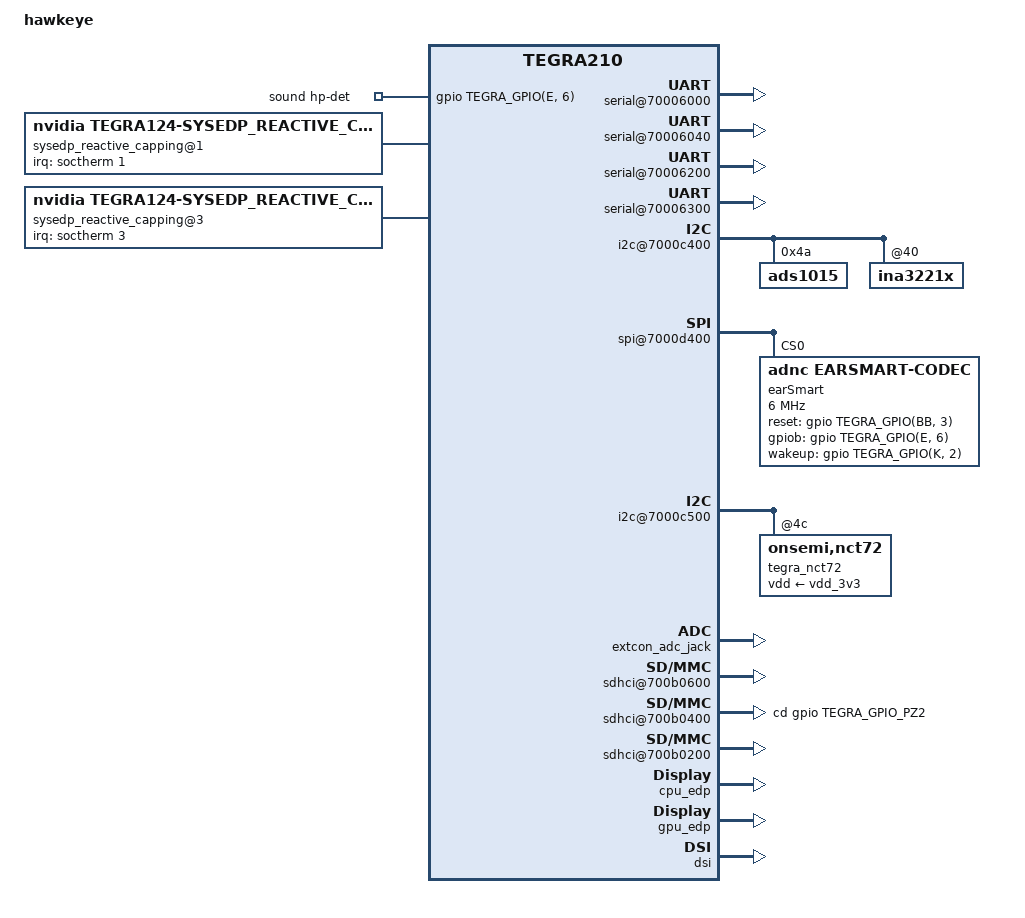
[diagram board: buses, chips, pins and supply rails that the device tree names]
/*
 * tegra210-hawkeye-p2290-common.dtsi: Hawkeye common dtsi.
 *
 * Copyright (c) 2014-2015, NVIDIA CORPORATION.  All rights reserved.
 *
 * This program is free software; you can redistribute it and/or modify
 * it under the terms of the GNU General Public License as published by
 * the Free Software Foundation; version 2 of the License.
 *
 * This program is distributed in the hope that it will be useful, but WITHOUT
 * ANY WARRANTY; without even the implied warranty of MERCHANTABILITY or
 * FITNESS FOR A PARTICULAR PURPOSE.  See the GNU General Public License for
 * more details.
 */

#include <dt-bindings/types.h>
/dts-v1/;

/memreserve/ 0x80000000 0x00020000;

#include "tegra210-soc-shield.dtsi"
#include <dt-bindings/interrupt-controller/arm-gic.h>
#include <dt-bindings/gpio/tegra-gpio.h>
#include <dt-bindings/padctrl/tegra210-pads.h>

#include "tegra210-platforms/tegra210-prods.dtsi"
#include "tegra210-platforms/tegra210-hawkeye-pinmux-p2290-1100-a00.dtsi"
#include "tegra210-platforms/tegra210-hawkeye-power-tree-p2290-1100-a00.dtsi"
#include "tegra210-platforms/tegra210-ers-keys-e2220-1170-a00.dtsi"
#include "panel-s-wuxga-7-0.dtsi"
#include "panel-s-wuxga-8-0.dtsi"
#include "panel-a-wuxga-8-0.dtsi"
#include "tegra210-platforms/tegra210-hawkeye-emc-p2290-1100-a00.dtsi"
#include "tegra210-platforms/tegra210-hawkeye-touch.dtsi"
#include "tegra210-platforms/tegra210-hawkeye-sensor-p2290-1100-a00.dtsi"
#include "tegra210-platforms/tegra210-hawkeye-camera-p2290-1100-a00.dtsi"
#include "tegra210-platforms/tegra210-hawkeye-modem-p2290-1100-a00.dtsi"
#include "tegra210-platforms/tegra210-sdhci.dtsi"
#include "tegra210-platforms/tegra210-edp.dtsi"
#include "tegra210-platforms/tegra210-audio.dtsi"
#include "tegra210-platforms/tegra210-ers-thermal-nct72-e2220-1170-a00.dtsi"
#include "tegra210-platforms/tegra210-thermal-Tboard-Tdiode.dtsi"
#include "tegra210-platforms/tegra210-therm-est.dtsi"
#include "tegra210-platforms/tegra210-ers-hdmi-e2190-1100-a00.dtsi"
#include "tegra210-platforms/tegra210-hawkeye-keys-p2290-1100-a00.dtsi"
#include "tegra210-platforms/tegra210-hawkeye-powermon.dtsi"
#include "tegra210-platforms/tegra210-sysedp.dtsi"
#include "tegra210-platforms/tegra210-hawkeye-e-prods.dtsi"
#include "tegra210-platforms/tegra210-hawkeye-thermal-zone-p2290-1100-a00.dtsi"

/* TODO: comm's dtsi should be included after GPIO dtsi */
#include "tegra210-platforms/tegra210-hawkeye-comms.dtsi"

/ {
	model = "hawkeye";
	compatible = "nvidia,hawkeye", "nvidia,tegra210";
	nvidia,fastboot-usb-pid = <0xcf0e>;

	nvidia,pmu-boardid = "2290:0000:A0";
	#address-cells = <2>;
	#size-cells = <2>;

	chosen {
	};

	firmware {
		android {
			compatible = "android,firmware";
			hardware = "hawkeye";
		};
	};

	gpio@6000d000 {
		camera_control {
			gpio-output-low = <
				TEGRA_GPIO(S, 4)
				TEGRA_GPIO(S, 5)
				TEGRA_GPIO(S, 6)
				TEGRA_GPIO(S, 7)
				TEGRA_GPIO(T, 0)
				>;
		};

		audio_over_jack {
			gpio-output-high = <TEGRA_GPIO(DD, 0)>;
		};

		uart_over_jack {
			status = "disabled";
			gpio-output-low = <TEGRA_GPIO(DD, 0)>;
			dt-override-status-odm-data = <0x80000000 0x80000000>;
		};
	};

	serial@70006000 {
		compatible = "nvidia,tegra210-uart", "nvidia,tegra114-hsuart";
		console-port;
		sqa-automation-port;
		status = "okay";
	};

	serial@70006040 {
		compatible = "nvidia,tegra114-hsuart";
		status = "okay";
	};

	serial@70006200 {
		compatible = "nvidia,tegra114-hsuart";
		status = "okay";
	};

	serial@70006300 {
		compatible = "nvidia,tegra114-hsuart";
		dma-names = "tx";
		status = "okay";
	};

	gpio-keys {
		home {
			status = "disabled";
		};
	};

	i2c@546c0000 {
		avdd_dsi_csi-supply = <&mipi_1v2>;
	};

	i2c@7000c400 {
		status = "okay";
		lp8557-backlight-a-wuxga-8-0@2c {
			status = "disabled";
			compatible = "ti,lp8557";
			reg = <0x2c>;

			bl-name = "pwm-backlight"; /* Match liblights naming expectations */
			init-brt = /bits/ 8 <0xFF>; /* Max brightness */
			dev-ctrl = /bits/ 8 <0x80>; /* PWM, enable standby mode */
			pwm-period = <29334>;

			pwm-names = "lp8557";
			pwms = <&tegra_pwm 0 29334>;

			bl-measured = < 0 1 2 4 5 6 7 8
					10 11 12 13 14 15 16 18
					19 20 21 22 23 24 25 26
					27 29 30 31 32 33 34 35
					36 38 39 40 41 42 44 45
					46 47 48 49 50 52 53 54
					55 56 57 58 59 61 62 63
					64 65 67 68 69 70 71 72
					73 75 76 77 78 79 80 81
					82 83 84 85 86 87 88 89
					90 91 92 93 94 96 97 98
					99 100 101 102 103 104 105 106
					107 108 109 110 111 112 112 113
					114 115 115 116 117 117 118 119
					120 122 123 124 125 126 128 129
					130 131 132 133 134 135 135 136
					137 138 139 140 141 142 143 145
					146 147 148 149 150 151 152 153
					154 155 156 157 158 159 160 161
					161 162 163 164 164 165 166 166
					167 168 169 170 171 173 174 175
					176 177 178 179 180 181 182 183
					183 184 185 186 187 188 189 189
					190 191 192 193 193 194 195 196
					197 198 199 200 200 201 202 203
					204 205 206 207 208 209 210 211
					212 213 214 216 217 218 219 220
					221 222 223 224 225 226 227 228
					229 230 231 232 233 234 235 235
					236 237 238 239 240 241 242 243
					244 245 247 248 249 250 251 251
					252 252 253 253 254 254 255 255 >;

			/* 3 LED string */
			rom_14h {
				rom-addr = /bits/ 8 <0x14>;
				rom-val = /bits/ 8 <0x87>;
			};

			/*Boost freq 1MHZ*/
			rom_13h {
				rom-addr = /bits/ 8 <0x13>;
				rom-val = /bits/ 8 <0x01>;
			};
		};

		lp8557-backlight-s-wuxga-7-0@2c {
			status = "disabled";
			compatible = "ti,lp8557";
			reg = <0x2c>;

			bl-name = "pwm-backlight"; /* Match liblights naming expectations */
			init-brt = /bits/ 8 <0xFF>; /* Max brightness */
			dev-ctrl = /bits/ 8 <0x80>; /* PWM, enable standby mode */
			pwm-period = <29334>;

			pwm-names = "lp8557";
			pwms = <&tegra_pwm 0 29334>;

			bl-measured = < 0 1 2 4 5 6 7 8
					10 11 12 13 14 15 16 18
					19 20 21 22 23 24 25 26
					27 29 30 31 32 33 34 35
					36 38 39 40 41 42 44 45
					46 47 48 49 50 52 53 54
					55 56 57 58 59 61 62 63
					64 65 67 68 69 70 71 72
					73 75 76 77 78 79 80 81
					82 83 84 85 86 87 88 89
					90 91 92 93 94 96 97 98
					99 100 101 102 103 104 105 106
					107 108 109 110 111 112 112 113
					114 115 115 116 117 117 118 119
					120 122 123 124 125 126 128 129
					130 131 132 133 134 135 135 136
					137 138 139 140 141 142 143 145
					146 147 148 149 150 151 152 153
					154 155 156 157 158 159 160 161
					161 162 163 164 164 165 166 166
					167 168 169 170 171 173 174 175
					176 177 178 179 180 181 182 183
					183 184 185 186 187 188 189 189
					190 191 192 193 193 194 195 196
					197 198 199 200 200 201 202 203
					204 205 206 207 208 209 210 211
					212 213 214 216 217 218 219 220
					221 222 223 224 225 226 227 228
					229 230 231 232 233 234 235 235
					236 237 238 239 240 241 242 243
					244 245 247 248 249 250 251 251
					252 252 253 253 254 254 255 255 >;

			/* 5 LED string */
			rom_14h {
				rom-addr = /bits/ 8 <0x14>;
				rom-val = /bits/ 8 <0x9f>;
			};

			/*Boost freq 1MHZ*/
			rom_13h {
				rom-addr = /bits/ 8 <0x13>;
				rom-val = /bits/ 8 <0x01>;
			};
		};

		lp8557-backlight-s-wuxga-8-0@2c {
			status = "disabled";
			compatible = "ti,lp8557";
			reg = <0x2c>;

			bl-name = "pwm-backlight"; /* Match liblights naming expectations */
			init-brt = /bits/ 8 <0xFF>; /* Max brightness */
			dev-ctrl = /bits/ 8 <0x80>; /* PWM, enable standby mode */
			pwm-period = <29334>;

			pwm-names = "lp8557";
			pwms = <&tegra_pwm 0 29334>;

			bl-measured = < 0 1 2 4 5 6 7 8
					10 11 12 13 14 15 16 18
					19 20 21 22 23 24 25 26
					27 29 30 31 32 33 34 35
					36 38 39 40 41 42 44 45
					46 47 48 49 50 52 53 54
					55 56 57 58 59 61 62 63
					64 65 67 68 69 70 71 72
					73 75 76 77 78 79 80 81
					82 83 84 85 86 87 88 89
					90 91 92 93 94 96 97 98
					99 100 101 102 103 104 105 106
					107 108 109 110 111 112 112 113
					114 115 115 116 117 117 118 119
					120 122 123 124 125 126 128 129
					130 131 132 133 134 135 135 136
					137 138 139 140 141 142 143 145
					146 147 148 149 150 151 152 153
					154 155 156 157 158 159 160 161
					161 162 163 164 164 165 166 166
					167 168 169 170 171 173 174 175
					176 177 178 179 180 181 182 183
					183 184 185 186 187 188 189 189
					190 191 192 193 193 194 195 196
					197 198 199 200 200 201 202 203
					204 205 206 207 208 209 210 211
					212 213 214 216 217 218 219 220
					221 222 223 224 225 226 227 228
					229 230 231 232 233 234 235 235
					236 237 238 239 240 241 242 243
					244 245 247 248 249 250 251 251
					252 252 253 253 254 254 255 255 >;

			/* 5 LED string */
			rom_14h {
				rom-addr = /bits/ 8 <0x14>;
				rom-val = /bits/ 8 <0x9f>;
			};

			/*Boost freq 1MHZ*/
			rom_13h {
				rom-addr = /bits/ 8 <0x13>;
				rom-val = /bits/ 8 <0x01>;
			};
		};

		ads1015: ads1015@4a {
			reg = <0x4a>;
			compatible = "ads1015";
			#io-channel-cells = <1>;
			ti,enable-continuous-mode;
			ti,continuous-channel-number = <4>;
			ti,maximum-retries = <6>;
			ti,adc-valid-threshold-ranges= <(-100)  76
							200     309
							1049    1263
							380     420
							673     848
							430     524
							2000    2047>;
			#iio-channel-cells = <1>;
		};
	};

	adma@702e2000  {
		interrupts = <0 24 0x04
			      0 25 0x04
			      0 26 0x04
			      0 27 0x04
			      0 28 0x04
			      0 29 0x04
			      0 30 0x04
			      0 31 0x04
			      0 32 0x04
			      0 33 0x04>;
		dma-channels = <10>;
		status = "okay";
	};

	spi@7000d400 {
		status = "okay";
		earSmart: earSmart-codec@0 {
			compatible = "adnc,earSmart-codec";
			reg = <0>;
			spi-max-frequency = <6000000>;
			spi-cpha;

			adnc,reset-gpio = <&gpio TEGRA_GPIO(BB, 3) GPIO_ACTIVE_HIGH>;
			adnc,gpiob-gpio = <&gpio TEGRA_GPIO(E, 6) GPIO_ACTIVE_HIGH>;
			adnc,wakeup-gpio = <&gpio TEGRA_GPIO(K, 2) GPIO_ACTIVE_HIGH>;

			adnc,int-gpio = <(-1)>;
			adnc,gpioa-gpio = <(-1)>;
			adnc,enable_hs_uart_intf = <0>;
			adnc,ext_clk_rate = <0>;
			adnc,debounce_timer = <3>;
			adnc,plug_det_enabled = <1>;
			adnc,mic_det_enabled = <1>;

			adnc,gpio_b_irq_type = <4>;
			adnc,cmd_comp_mode = <0>;

			/* Button Control 1 */
			adnc,btn_press_settling_time = <4>;
			adnc,btn_press_polling_rate = <1>;
			adnc,btn_press_det_act = <1>;

			/* Button Control 2 */
			adnc,double_btn_timer = <(-1)>;
			adnc,mic_det_settling_timer = <(-1)>;

			/* Button Control 3 */
			adnc,long_btn_timer = <(-1)>;
			adnc,adc_btn_mute = <(-1)>;

			/* Button Control 4 */
			adnc,valid_levels = <31>;
			adnc,impd_det_timer = <0>;
		};
	};

	ahub {
		i2s@702d1100 {
			pinctrl-names = "dap_active", "dap_inactive";
			pinctrl-0 = <>;
			pinctrl-1 = <>;
			regulator-supplies = "vdd-1v8-spi-hv", "vdd-1v8-spi-hv-bias";
			vdd-1v8-spi-hv-supply = <&max77620_sd3>;
			vdd-1v8-spi-hv-bias-supply = <&max77620_sd3>;
			fsync-width = <0>;
		};
	};

	sound {
		compatible = "nvidia,tegra-audio-t210ref-mobile-es755";
		nvidia,model = "tegra-snd-t210ref-mobile-es755";
		nvidia,hp-det-gpios = <&gpio TEGRA_GPIO(E, 6) GPIO_ACTIVE_HIGH>;
		nvidia,num-codec-link = <3>;
		edp-consumer-name = "codec+speaker";

		nvidia,audio-routing =
			"Int Spk",	"SPKRL",
			"Int Spk",	"SPKRR",
			"y Headphone", 	"y OUT",
			"y IN",		"y Mic",
			"z Headphone", 	"z OUT",
			"z IN",		"z Mic",
			"z IN",		"z OUT";

		nvidia,xbar = <&tegra_axbar>;

		nvidia,dai-link-1 {
			link-name = "earSmart-playback";
			cpu-dai = <&tegra_i2s1>;
			codec-dai = <&earSmart>;
			cpu-dai-name = "I2S1";
			codec-dai-name = "earSmart-porta";
			format = "i2s";
			bitclock-slave;
			frame-slave;
			bitclock-noninversion;
			frame-noninversion;
			bit-format = "s16_le";
			bclk_ratio = <0>;
			srate = <48000>;
			num-channel = <2>;
			name-prefix = "x";
		};
		nvidia,dai-link-2 {
			link-name = "spdif-dit-1";
			cpu-dai = <&tegra_i2s2>;
			codec-dai = <&spdif_dit1>;
			cpu-dai-name = "I2S2";
			codec-dai-name = "dit-hifi";
			format = "dsp_a";
			bitclock-slave;
			frame-slave;
			bitclock-inversion;
			frame-inversion;
			bit-format = "s16_le";
			bclk_ratio = <4>;
			srate = <8000>;
			num-channel = <1>;
			name-prefix = "y";
		};
		nvidia,dai-link-3 {
			link-name = "spdif-dit-2";
			cpu-dai = <&tegra_i2s3>;
			codec-dai = <&spdif_dit2>;
			cpu-dai-name = "I2S3";
			codec-dai-name = "dit-hifi";
			format = "i2s";
			bitclock-slave;
			frame-slave;
			bitclock-noninversion;
			frame-noninversion;
			bit-format = "s16_le";
			bclk_ratio = <0>;
			srate = <48000>;
			num-channel = <2>;
			name-prefix = "z";
		};
	};

	i2c@7000c500 {
		tegra_nct72: onsemi,nct72@4c {
			vdd-supply = <&vdd_3v3>;
		};
	};

	camera-pcl {
		profiles {
			ov5693@x_0010 {
				use_of_node = "yes";
				dev_name = "ov5693";
				num = <0>;
				avdd-supply = <&max77620_ldo3>;
				dvdd-supply = <&max77620_ldo3>;
				dovdd-supply = <&en_vdd_cam>;
				cam2-gpios = <&gpio TEGRA_GPIO(S, 7) 1>;
			};
			ad5823@x_000c {
				use_of_node = "yes";
				vdd-supply = <&max77620_ldo3>;
				vif-supply = <&en_vdd_cam>;
				af-pwdn-gpios = <&gpio TEGRA_GPIO(S, 5) 1>;
			};
			imx132@x_0036 {
				use_of_node = "yes";
				dev_name = "imx132";
				num = <1>;
				vana-supply = <&max77620_ldo3>;
				vdig-supply = <&en_vdd_cam_1v2>;
				vif-supply = <&en_vdd_cam>;
				cam2-gpios = <&gpio TEGRA_GPIO(T, 0) 0>;
			};
		};

		dpd {
			compatible = "nvidia,csi-dpd";
			#address-cells = <1>;
			#size-cells = <0>;
			default-enable;
			num = <6>;
			csia {
				reg = <0x0 0x0 0x0 0x0>;
			};
			csib {
				reg = <0x0 0x1 0x0 0x0>;
			};
			csic {
				reg = <0x1 0x0a 0x0 0x0>;
			};
			csid {
				reg = <0x1 0x0b 0x0 0x0>;
			};
			csie {
				reg = <0x1 0x0c 0x0 0x0>;
			};
			csif {
				reg = <0x1 0x0d 0x0 0x0>;
			};
		};
	};

        psy_extcon {
                compatible = "power-supply-extcon";
                extcon-cables = <&udc 1 &udc 2 &udc 3
                                &udc 4 &udc 5 &udc 6
                                &udc 7 &udc 8 &udc 9
                                &udc 10 &udc 11 &udc 12 &udc 13 &otg 0 &otg 1>;
                extcon-cable-names = "usb-charger", "ta-charger", "maxim-charger",
                                "qc2-charger", "downstream-charger","fast-charger",
                                "slow-charger", "apple-500ma", "apple-1a",
                                "apple-2a", "ACA NV-Charger", "ACA RID-B", "ACA RID-C", "y-cable", "ACA RID-A";
                                status = "okay";
        };

	adsp_audio {
		compr-ops = <1>;
		num-plugin = <5>;
		plugin-info-1 {
			plugin-name = "mp3-dec1";
			firmware-name = "nvmp3dec.elf";
			widget-name = "MP3-DEC1";
		};
		plugin-info-2 {
			plugin-name = "mp3-dec2";
			firmware-name = "nvmp3dec.elf";
			widget-name = "MP3-DEC2";
		};
		plugin-info-3 {
			plugin-name = "spkprot";
			firmware-name = "nvspkprot.elf";
			widget-name = "SPKPROT-SW";
		};
		plugin-info-4 {
			plugin-name = "src";
			firmware-name = "nvsrc.elf";
			widget-name = "SRC";
		};
		plugin-info-5 {
			plugin-name = "aac-dec1";
			firmware-name = "nvaacdec.elf";
			widget-name = "AAC-DEC1";
		};
	};

	extcon {
		id_gpio_extcon: extcon@0 {
			compatible = "extcon-gpio";
			reg = <0x0>;
			status = "disabled";
			extcon-gpio,name = "ID";
			gpio = <&max77620 0 0>;
			extcon-gpio,connection-state-low;
			extcon-gpio,cable-name = "USB-Host";
			#extcon-cells = <1>;
		};

		extcon_adc_jack: extcon@1 {
			compatible = "extcon-adc-jack";
			reg = <0x1>;
                        interrupt-parent = <&gpio>;
                        interrupts = <TEGRA_GPIO(A, 2) GPIO_ACTIVE_HIGH>;
                        extcon-adc-jack,irq-flags = <2>;
			extcon-adc-jack,debounce-ms = <500>;
			extcon-adc-jack,cable-names = "ID-GND", "ID-NV", "ID-RA", "ID-RB", "ID-RC";
			extcon-adc-jack,states = <0x1    (-100)   76
						  0x2    200      309
						  0x4    1049     1263
						  0x4    380      420
						  0x8    673      848
						  0x10   430      524>;
			io-channels = <&ads1015 4>;
			io-channel-names = "id-resistance";
			#extcon-cells = <1>;
		};

                extcon_cable_xlate: extcon@2 {
                        compatible = "extcon-cable-xlate";
                        reg = <0x2>;
                        extcon-name = "cable-xlate";
                        output-cable-names = "USB", "USB-Host", "ACA-NV", "Y-Cable", "ACA-A", "ACA-B", "ACA-C";
                                        extcon-cables = <&bq2419x 0 &extcon_adc_jack 0 &extcon_adc_jack 1 &extcon_adc_jack 2 &extcon_adc_jack 3 &extcon_adc_jack 4>;
                        extcon-cable-names = "vbus", "id", "aca-nv", "aca-ra", "aca-rb", "aca-rc";
                        cable-states = <0x0     0x3F    0x0
                                        0x1     0x3F    0x1
                                        0x2     0x3F    0x2
                                        0x4     0x3F    0x4
                                        0x5     0x3F    0x4
                                        0x3     0x3F    0x8
                                        0x8     0x3F    0x10
                                        0x9     0x3F    0x10
                                        0x10    0x3F    0x20
                                        0x21    0x3F    0x40
                                        0x20    0x3F    0x40>;
                        #extcon-cells = <1>;
                };
	};

	pmc@7000e400 {
		nvidia,invert-interrupt;
		platform-io-pad-voltage = <
				TEGRA210_PAD_AUDIO_HV IO_PAD_VOLTAGE_1_8V
				TEGRA210_PAD_GPIO IO_PAD_VOLTAGE_1_8V
				TEGRA210_PAD_SPI_HV IO_PAD_VOLTAGE_1_8V>;
	};

	udc@7d000000 {
		nvidia,port-otg;
		nvidia,charging-supported;
		nvidia,enable-pmu-vbus-detection;
		nvidia,id-detection-type = <1>;
		nvidia,enable-aca-rid-detection;
		nvidia,enable-aca-nv-charger-detection;
		nvidia,dcp-current-limit-ma = <3000>;
		nvidia,qc2-input-voltage = <2>;
		nvidia,qc2-current-limit-ma = <1300>;
		extcon-cables = <&extcon_cable_xlate 0 &extcon_cable_xlate 2 &extcon_cable_xlate 5 &extcon_cable_xlate 6>;
		extcon-cable-names = "vbus", "aca-nv", "aca-rb", "aca-rc";
		#extcon-cells = <1>;
		dt-override-status-odm-data = <0x01000000 0x00000000>;
	};

        otg@7d000000 {
		nvidia,enable-pmu-vbus-detection;
		nvidia,id-detection-type = <1>;
		nvidia,enable-y-cable-detection;
		nvidia,enable-aca-rid-detection;
		nvidia,enable-aca-nv-charger-detection;
		extcon-cables = <&extcon_cable_xlate 0 &extcon_cable_xlate 1 &extcon_cable_xlate 2 &extcon_cable_xlate 3 &extcon_cable_xlate 4 &extcon_cable_xlate 5 &extcon_cable_xlate 6>;
		extcon-cable-names = "vbus", "id", "aca-nv", "y-cable", "aca-ra", "aca-rb", "aca-rc";
		#extcon-cells = <1>;
		dt-override-status-odm-data = <0x01000000 0x00000000>;
        };

	sdhci@700b0600 {
		uhs-mask = <0x00>;
		built-in;
		nvidia,enable-hs533-mode;
		pll_source = "pll_p", "pll_c4_out1";
		max-clk-limit = <266000000>;
		status = "okay";
	};

	sdhci@700b0400 {
		uhs-mask = <0x8>; /* Disabled DDR50 mode for SD */
		mmc-ocr-mask = <3>;
		cd-gpios = <&gpio TEGRA_GPIO_PZ2 0>;
		nvidia,update-pinctrl-settings;
		pinctrl-names = "sdmmc_schmitt_enable", "sdmmc_schmitt_disable", "sdmmc_clk_schmitt_enable", "sdmmc_clk_schmitt_disable";
		pinctrl-0 = <&sdmmc3_schmitt_enable_state>;
		pinctrl-1 = <&sdmmc3_schmitt_disable_state>;
		pinctrl-2 = <&sdmmc3_clk_schmitt_enable_state>;
		pinctrl-3 = <&sdmmc3_clk_schmitt_disable_state>;
		nvidia,sd-device;
		status = "okay";
	};

	sdhci@700b0200 {
		uhs-mask = <0x8>; /* Disabled DDR50 mode for SDIO */
		nvidia,is-ddr-tap-delay;
		nvidia,ddr-tap-delay = <0>;
		status = "okay";
	};

	sdhci@700b0000 {
		uhs-mask = <0x1C>; /* Disabled UHS modes for 2nd SDIO */
		mmc-ocr-mask = <0>;
		default-drv-type = <1>;
		nvidia,update-pinctrl-settings;
		pinctrl-names = "sdmmc_schmitt_enable", "sdmmc_schmitt_disable", "sdmmc_clk_schmitt_enable", "sdmmc_clk_schmitt_disable";
		pinctrl-0 = <&sdmmc1_schmitt_enable_state>;
		pinctrl-1 = <&sdmmc1_schmitt_disable_state>;
		pinctrl-2 = <&sdmmc1_clk_schmitt_enable_state>;
		pinctrl-3 = <&sdmmc1_clk_schmitt_disable_state>;
		status = "disabled";
	};

        watchdog@60005100 {
                dt-override-status-odm-data = <0x00010000 0x00010000>;
        };
	
	sysedp {
		compatible = "nvidia,tegra124-sysedp";
		nvidia,margin = <0>;
		nvidia,min_budget = <0>;
		nvidia,initial_budget = <20000>;
		consumers {
			consumer1 {
				nvidia,consumer_name = "primary-wifi";
				nvidia,states = <0 1020>;
			};
			consumer2 {
				/* internal eMMC */
				nvidia,consumer_name = "sdhci-tegra.3";
				nvidia,states = <0 1785>;
			};
			consumer3 {
				nvidia,consumer_name = "codec+speaker";
				nvidia,states = <0 1270>;
			};
			consumer4 {
				nvidia,consumer_name = "pwm-backlight";
				nvidia,states = <20 241 461 681 902 1122 1342 1563 1783 2003 2223>;
			};
			consumer5 {
				/* SD card */
				nvidia,consumer_name = "sdhci-tegra.2";
				nvidia,states = <0 1785>;
			};
			consumer6 {
				/* rear camera */
				nvidia,consumer_name = "ov5693";
				nvidia,states = <0 300>;
			};
			/* front camera place holder */
			/* consumer7 { }; */
		};
	};

	bcmdhd_wlan {
		/* broadcom wifi edp consumer name */
		edp-consumer-name = "primary-wifi";
	};

	cpu_edp {
		status = "okay";
		nvidia,edp_limit = <12000>;
	};

	gpu_edp {
		status = "okay";
		nvidia,edp_limit = <16000>;
	};

	soctherm@0x700E2000 {
		throttle@oc1 {
			/* vsys_min brownout detector voltage comparator */
			device_type = "throttlectl";
			oc-alarm-id = <1>;
			priority = <50>;
			mode = "brief";
			intr;
			active_low;
			count_threshold = <100>;
			filter = <5100000>;
			throttle_dev = <&{/soctherm@0x700E2000/throttle_dev@cpu_medium}
					&{/soctherm@0x700E2000/throttle_dev@gpu_medium}>;
		};
		throttle@oc3 {
			/* battery current monitor */
			device_type = "throttlectl";
			oc-alarm-id = <3>;
			priority = <50>;
			mode = "brief";
			intr;
			active_low;
			count_threshold = <100>;
			filter = <5100000>;
			throttle_dev = <&{/soctherm@0x700E2000/throttle_dev@cpu_medium}
					&{/soctherm@0x700E2000/throttle_dev@gpu_medium}>;
		};
		throttle_dev@cpu_medium {
			dividend = <63>;
			divisor = <255>;
			duration = <0>;
			step = <0>;
		};
		throttle_dev@gpu_medium {
			level = "medium_throttling";
		};
	};

	gpu-dvfs-rework {
		status = "okay";
	};

	thermal-zones {
		CPU-therm {
			thermal-zone-params {
				governor-name = "pid_thermal_gov";
				max_err_temp = <9000>;
				max_err_gain = <1000>;
				gain_p = <1000>;
				gain_d = <0>;
				up_compensation = <20>;
				down_compensation = <20>;
			};
			trips {
				cpu_critical {
					temperature = <103000>;
					hysteresis = <0>;
					type = "critical";
					writable;
				};
				cpu_heavy {
					temperature = <99000>;
					hysteresis = <0>;
					type = "hot";
					writable;
				};
				cpu_throttle {
					temperature = <89500>;
					hysteresis = <0>;
					type = "passive";
					writable;
				};
			};
			cooling-maps {
				map0 {
					trip = <&{/thermal-zones/CPU-therm/trips/cpu_critical}>;
					cdev-type = "tegra-shutdown";
					cooling-device = <&{/soctherm@0x700E2000/throttle@critical}
						THERMAL_NO_LIMIT THERMAL_NO_LIMIT>;
				};
				map1 {
					trip = <&{/thermal-zones/CPU-therm/trips/cpu_heavy}>;
					cdev-type = "tegra-heavy";
					cooling-device = <&{/soctherm@0x700E2000/throttle@heavy}
						THERMAL_NO_LIMIT THERMAL_NO_LIMIT>;
				};
				map2 {
					trip = <&{/thermal-zones/CPU-therm/trips/cpu_throttle}>;
					cdev-type = "cpu-balanced";
					cooling-device = <&{/bthrot_cdev/cpu_balanced}
						THERMAL_NO_LIMIT THERMAL_NO_LIMIT>;
				};
			};
		};
		GPU-therm {
			thermal-zone-params {
				governor-name = "pid_thermal_gov";
				max_err_temp = <9000>;
				max_err_gain = <1000>;
				gain_p = <1000>;
				gain_d = <0>;
				up_compensation = <20>;
				down_compensation = <20>;
			};
			trips {
				gpu_critical {
					temperature = <104000>;
					hysteresis = <0>;
					type = "critical";
					writable;
				};
				gpu_heavy {
					temperature = <101000>;
					hysteresis = <0>;
					type = "hot";
					writable;
				};
				gpu_throttle {
					temperature = <91500>;
					hysteresis = <0>;
					type = "passive";
					writable;
				};
			};
			cooling-maps {
				map0 {
					trip = <&{/thermal-zones/GPU-therm/trips/gpu_critical}>;
					cdev-type = "tegra-shutdown";
					cooling-device = <&{/soctherm@0x700E2000/throttle@critical}
						THERMAL_NO_LIMIT THERMAL_NO_LIMIT>;
				};
				map1 {
					trip = <&{/thermal-zones/GPU-therm/trips/gpu_heavy}>;
					cdev-type = "tegra-heavy";
					cooling-device = <&{/soctherm@0x700E2000/throttle@heavy}
						THERMAL_NO_LIMIT THERMAL_NO_LIMIT>;
				};
				map2 {
					trip = <&{/thermal-zones/GPU-therm/trips/gpu_throttle}>;
					cdev-type = "gpu-balanced";
					cooling-device = <&{/bthrot_cdev/gpu_balanced}
						THERMAL_NO_LIMIT THERMAL_NO_LIMIT>;
				};
			};
		};
		LCPU-therm {
			thermal-zone-params {
				governor-name = "pid_thermal_gov";
				max_err_temp = <9000>;
				max_err_gain = <1000>;
				gain_p = <1000>;
				gain_d = <0>;
				up_compensation = <20>;
				down_compensation = <20>;
			};
			trips {
				lcpu_critical {
					temperature = <104000>; /* must be same as GPU's critical temp */
					hysteresis = <0>;
					type = "critical";
					writable;
				};
				lcpu_heavy {
					temperature = <98000>;
					hysteresis = <0>;
					type = "hot";
					writable;
				};
				lcpu_throttle {
					temperature = <88500>;
					hysteresis = <0>;
					type = "passive";
					writable;
				};
			};
			cooling-maps {
				map0 {
					trip = <&{/thermal-zones/LCPU-therm/trips/lcpu_critical}>;
					cdev-type = "tegra-shutdown";
					cooling-device = <&{/soctherm@0x700E2000/throttle@critical}
						THERMAL_NO_LIMIT THERMAL_NO_LIMIT>;
				};
				map1 {
					trip = <&{/thermal-zones/LCPU-therm/trips/lcpu_heavy}>;
					cdev-type = "tegra-heavy";
					cooling-device = <&{/soctherm@0x700E2000/throttle@heavy}
						THERMAL_NO_LIMIT THERMAL_NO_LIMIT>;
				};
				map2 {
					trip = <&{/thermal-zones/LCPU-therm/trips/lcpu_throttle}>;
					cdev-type = "cpu-balanced";
					cooling-device = <&{/bthrot_cdev/cpu_balanced}
						THERMAL_NO_LIMIT THERMAL_NO_LIMIT>;
				};
			};
		};
		PLL-therm {
			thermal-zone-params {
				governor-name = "pid_thermal_gov";
				max_err_temp = <9000>;
				max_err_gain = <1000>;
				gain_p = <1000>;
				gain_d = <0>;
				up_compensation = <20>;
				down_compensation = <20>;
			};
		};
		Tboard_tegra {
			status = "okay";
		};
		Tdiode_tegra {
			status = "okay";
		};
	};

	sysedp-dynamic-capping {
		compatible = "nvidia,tegra124-sysedp-dynamic-capping";
		nvidia,throttle_depth = <75>;
		nvidia,cap_method = <3>;
		nvidia,core_gain = <120>;
	};

	sysedp_reactive_capping@1 {
		compatible = "nvidia,tegra124-sysedp_reactive_capping";
		nvidia,max_capping_mw = <15000>;
		nvidia,step_alarm_mw = <1000>;
		nvidia,step_relax_mw = <500>;
		nvidia,relax_ms = <250>;
		interrupt-parent = <&soctherm>;
		interrupts = <1 0x2002>;
			sysedpc {
				nvidia,name = "voltmon_oc1";
			};
	};

	sysedp_reactive_capping@3 {
		compatible = "nvidia,tegra124-sysedp_reactive_capping";
		nvidia,max_capping_mw = <15000>;
		nvidia,step_alarm_mw = <1000>;
		nvidia,step_relax_mw = <500>;
		nvidia,relax_ms = <250>;
		interrupt-parent = <&soctherm>;
		interrupts = <3 0x2002>;
			sysedpc {
				nvidia,name = "batmon_oc3";
			};
	};

	i2c@7000c400 {
		ina3221x@40 {
			/* rail VDD_BATT */
			channel@0 {
				ti,shunt-resistor-mohm = <5>;
				ti,current-warning-limit-ma = <8000>;
				ti,current-critical-limit-ma = <9000>;
			};
			/* rail VDD_VBUS */
			channel@1 {
				ti,shunt-resistor-mohm = <5>;
			};
			/* rail VDD_MODEM */
			channel@2 {
				ti,shunt-resistor-mohm = <5>;
			};
		};
	};

	backlight {
		status = "okay";
		disable-on-kernel-charging;
	};

	host1x {
		/* tegradc.0 */
		dc@54200000 {
			status = "okay";
			nvidia,dc-flags = <TEGRA_DC_FLAG_ENABLED>;
			nvidia,emc-clk-rate = <204000000>;
			nvidia,cmu-enable = <1>;
			nvidia,fb-bpp = <32>; /* bits per pixel */
			nvidia,fb-flags = <TEGRA_FB_FLIP_ON_PROBE>;
		};
		/* tegradc.1 */
		dc@54240000 {
			status = "okay";
			nvidia,dc-flags = <TEGRA_DC_FLAG_ENABLED>;
			nvidia,emc-clk-rate = <300000000>;
			nvidia,cmu-enable = <1>;
			nvidia,fb-bpp = <32>; /* bits per pixel */
			nvidia,fb-flags = <TEGRA_FB_FLIP_ON_PROBE>;
		};
		dsi {
			nvidia,dsi-controller-vs = <DSI_VS_1>;
			status = "okay";
			panel-a-wuxga-8-0 {
				nvidia,dsi-dpd-pads = <DSIC_DPD_EN DSID_DPD_EN>;
				nvidia,panel-rst-gpio = <&gpio TEGRA_GPIO(V, 2) 0>; /* PV2 */
				nvidia,panel-bl-pwm-gpio = <&gpio TEGRA_GPIO(V, 0) 0>; /* PV0 */
				nvidia,panel-en-gpio = <&gpio TEGRA_GPIO(V, 1) 0>; /* PV1 */
				disp-default-out {
					nvidia,out-rotation = <180>;
				};
			};
			panel-s-wuxga-7-0 {
				nvidia,dsi-dpd-pads = <DSIC_DPD_EN DSID_DPD_EN>;
				nvidia,panel-rst-gpio = <&gpio TEGRA_GPIO(V, 2) 0>; /* PV2 */
				nvidia,panel-bl-pwm-gpio = <&gpio TEGRA_GPIO(V, 0) 0>; /* PV0 */
				nvidia,panel-en-gpio = <&gpio TEGRA_GPIO(V, 1) 0>; /* PV1 */
				disp-default-out {
					nvidia,out-rotation = <180>;
				};
			};
			panel-s-wuxga-8-0 {
				nvidia,dsi-dpd-pads = <DSIC_DPD_EN DSID_DPD_EN>;
				nvidia,panel-rst-gpio = <&gpio TEGRA_GPIO(V, 2) 0>; /* PV2 */
				nvidia,panel-bl-pwm-gpio = <&gpio TEGRA_GPIO(V, 0) 0>; /* PV0 */
				nvidia,panel-en-gpio = <&gpio TEGRA_GPIO(V, 1) 0>; /* PV1 */
				disp-default-out {
					nvidia,out-rotation = <180>;
				};
			};
		};
	};

	soctherm@0x700E2000 {
		therm_cpu {
			enable-hw-pllx-offsetting;
		};
		therm_gpu {
			enable-hw-pllx-offsetting;
		};
	};
};
